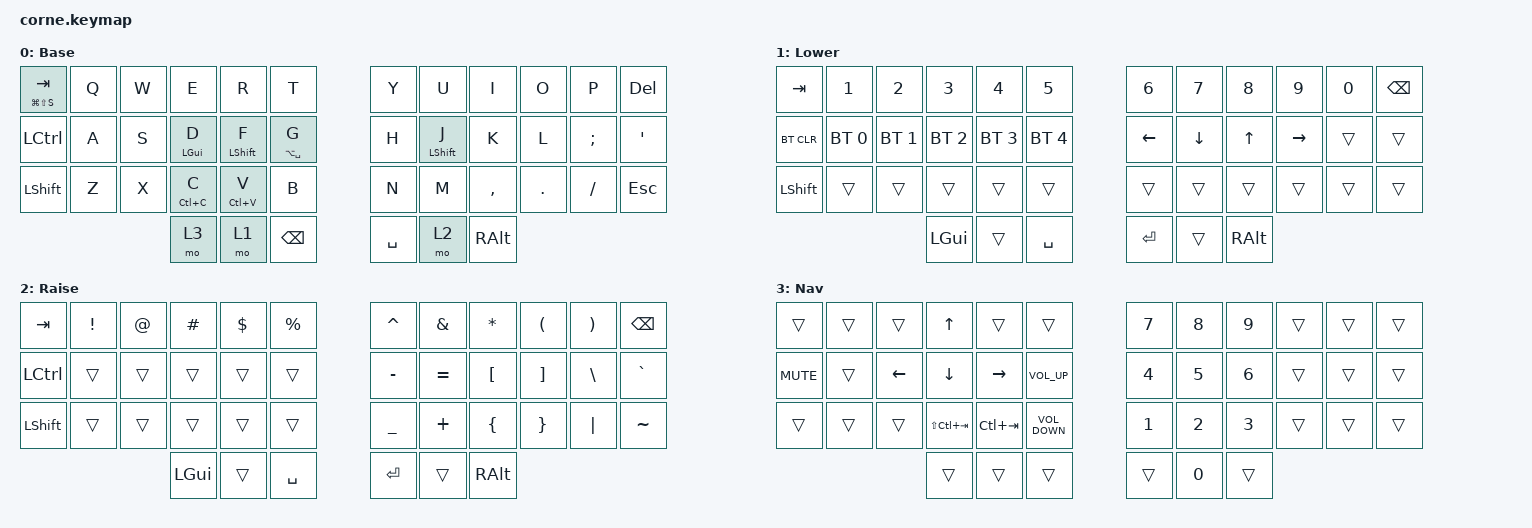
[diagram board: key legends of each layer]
/*
 * Copyright (c) 2020 The ZMK Contributors
 *
 * SPDX-License-Identifier: MIT
 */

#include <behaviors.dtsi>
#include <dt-bindings/zmk/bt.h>
#include <dt-bindings/zmk/keys.h>

&mt {
    tapping-term-ms = <300>;
    flavor = "tap-preferred";
};

/ {
    keymap {
        compatible = "zmk,keymap";

        default_layer {
            // base name
            display-name = "Base";
            // -----------------------------------------------------------------------------------------
            // |  TAB |  Q  |  W  |  E  |  R  |  T  |   |  Y  |  U   |  I  |  O  |  P  | BSPC |
            // | CTRL |  A  |  S  |  D  |  F  |  G  |   |  H  |  J   |  K  |  L  |  ;  |  '   |
            // | SHFT |  Z  |  X  |  C  |  V  |  B  |   |  N  |  M   |  ,  |  .  |  /  | ESC  |
            //                    | GUI | LWR | SPC |   | ENT | RSE  | ALT |

            bindings = <
&mt LG(LS(S)) TAB  &kp Q  &kp W  &kp E           &kp R             &kp T              &kp Y      &kp U             &kp I      &kp O    &kp P     &kp DEL
&kp LCTRL          &kp A  &kp S  &mt LEFT_GUI D  &mt LEFT_SHIFT F  &mt LA(SPACE) G    &kp H      &mt LEFT_SHIFT J  &kp K      &kp L    &kp SEMI  &kp SQT
&kp LSHFT          &kp Z  &kp X  &mt LC(C) C     &mt LC(V) V       &kp B              &kp N      &kp M             &kp COMMA  &kp DOT  &kp FSLH  &kp ESC
                                 &mo 3           &mo 1             &kp BACKSPACE      &kp SPACE  &mo 2             &kp RALT
            >;
        };

        lower_layer {
            // lower name
            display-name = "Lower";
            // -----------------------------------------------------------------------------------------
            // |  TAB |  1  |  2  |  3  |  4  |  5  |   |  6  |  7  |  8  |  9  |  0  | BSPC |
            // | BTCLR| BT1 | BT2 | BT3 | BT4 | BT5 |   | LFT | DWN |  UP | RGT |     |      |
            // | SHFT |     |     |     |     |     |   |     |     |     |     |     |      |
            //                    | GUI |     | SPC |   | ENT |     | ALT |

            bindings = <
&kp TAB     &kp N1        &kp N2        &kp N3        &kp N4        &kp N5          &kp N6    &kp N7    &kp N8    &kp N9     &kp N0  &kp BSPC
&bt BT_CLR  &bt BT_SEL 0  &bt BT_SEL 1  &bt BT_SEL 2  &bt BT_SEL 3  &bt BT_SEL 4    &kp LEFT  &kp DOWN  &kp UP    &kp RIGHT  &trans  &trans
&kp LSHFT   &trans        &trans        &trans        &trans        &trans          &trans    &trans    &trans    &trans     &trans  &trans
                                        &kp LGUI      &trans        &kp SPACE       &kp RET   &trans    &kp RALT
            >;
        };

        raise_layer {
            // raise name
            display-name = "Raise";
            // -----------------------------------------------------------------------------------------
            // |  TAB |  !  |  @  |  #  |  $  |  %  |   |  ^  |  &  |  *  |  (  |  )  | BSPC |
            // | CTRL |     |     |     |     |     |   |  -  |  =  |  [  |  ]  |  \  |  `   |
            // | SHFT |     |     |     |     |     |   |  _  |  +  |  {  |  }  | "|" |  ~   |
            //                    | GUI |     | SPC |   | ENT |     | ALT |

            bindings = <
&kp TAB    &kp EXCL  &kp AT  &kp HASH  &kp DLLR  &kp PRCNT    &kp CARET  &kp AMPS   &kp ASTRK  &kp LPAR  &kp RPAR  &kp BSPC
&kp LCTRL  &trans    &trans  &trans    &trans    &trans       &kp MINUS  &kp EQUAL  &kp LBKT   &kp RBKT  &kp BSLH  &kp GRAVE
&kp LSHFT  &trans    &trans  &trans    &trans    &trans       &kp UNDER  &kp PLUS   &kp LBRC   &kp RBRC  &kp PIPE  &kp TILDE
                             &kp LGUI  &trans    &kp SPACE    &kp RET    &trans     &kp RALT
            >;
        };

        Nav_layer {
            // Nav name
            display-name = "Nav";
            bindings = <
&trans      &trans  &trans          &kp UP_ARROW     &trans           &trans               &kp NUMBER_7  &kp NUMBER_8  &kp NUMBER_9  &trans  &trans  &trans
&kp K_MUTE  &trans  &kp LEFT_ARROW  &kp DOWN_ARROW   &kp RIGHT_ARROW  &kp C_VOLUME_UP      &kp NUMBER_4  &kp NUMBER_5  &kp NUMBER_6  &trans  &trans  &trans
&trans      &trans  &trans          &kp LS(LC(TAB))  &kp LC(TAB)      &kp C_VOLUME_DOWN    &kp NUMBER_1  &kp NUMBER_2  &kp NUMBER_3  &trans  &trans  &trans
                                    &trans           &trans           &trans               &trans        &kp NUMBER_0  &trans
            >;
        };
    };
};
